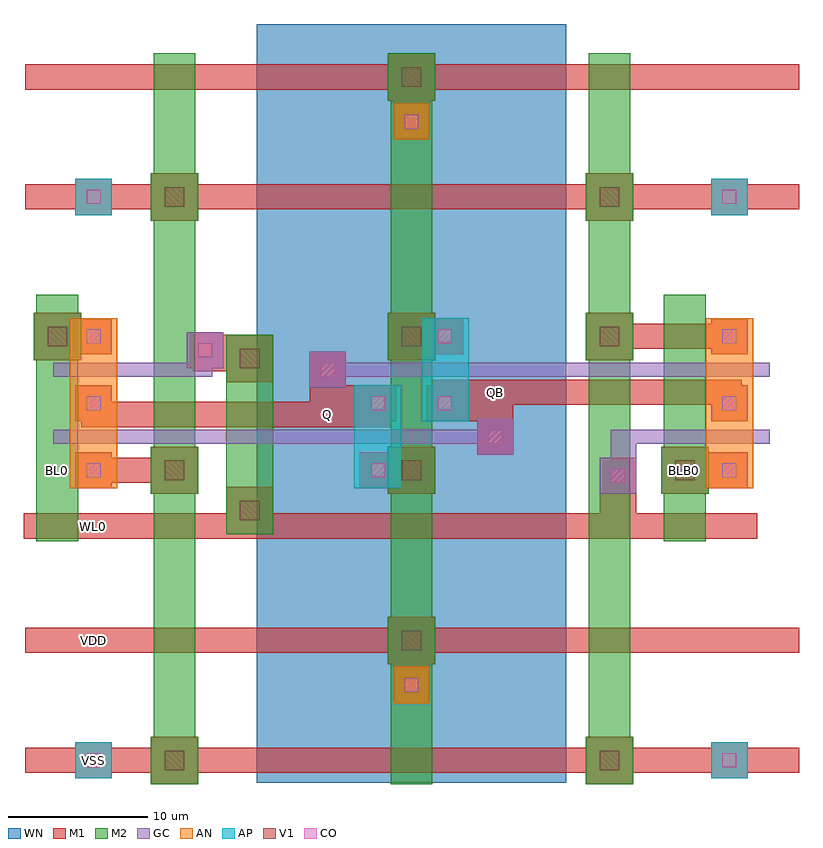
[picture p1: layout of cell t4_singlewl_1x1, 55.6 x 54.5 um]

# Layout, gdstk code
import gdstk
lib = gdstk.Library(unit=1e-6, precision=1e-07)
def R(c, l, rs):  # rectangles x0, y0, x1, y1
    for r in rs: c.add(gdstk.rectangle(r[:2], r[2:], *l))
def A(c, l, x, y, w, h, nx, ny, dx, dy):  # array of equal rectangles
    R(c, l, [(x+i*dx, y+j*dy, x+i*dx+w, y+j*dy+h) for i in range(nx) for j in range(ny)])
def P(c, l, *ps):  # polygons
    for p in ps: c.add(gdstk.Polygon(p, *l))
AP = (3, 1)
AN = (3, 2)
GC = (8, 1)
CO = (11, 0)
M1 = (13, 0)
V1 = (19, 0)
M2 = (20, 0)
WN = (140, 0)

t4_single_core = lib.new_cell('t4_single_core')
R(t4_single_core, AP, [(18.7,-1.3,22.1,6.1), (23.5,3.5,26.9,10.9)])
R(t4_single_core, AN, [(-1.7,-1.3,1.7,10.9), (43.9,-1.3,47.3,10.9)])
P(t4_single_core, GC, [(36.3,-1.7),(36.3,0.9),(37.1,0.9),(37.1,2.9),(48.5,2.9),(48.5,1.9),(38.9,1.9),(38.9,-1.7)],
  [(27.5,1.1),(27.5,1.9),(-2.9,1.9),(-2.9,2.9),(27.5,2.9),(27.5,3.7),(30.1,3.7),(30.1,1.1)],
  [(15.5,5.9),(15.5,8.5),(18.1,8.5),(18.1,7.7),(48.5,7.7),(48.5,6.7),(18.1,6.7),(18.1,5.9)],
  [(-2.9,6.7),(-2.9,7.7),(6.7,7.7),(6.7,9.9),(9.3,9.9),(9.3,7.3),(8.5,7.3),(8.5,6.7)])
A(t4_single_core, CO, -0.5, -0.5, 1, 1, 1, 3, 0, 4.8)
A(t4_single_core, CO, 45.1, -0.5, 1, 1, 1, 3, 0, 4.8)
R(t4_single_core, CO, [(37.1,-0.9,38.1,0.1), (19.9,-0.5,20.9,0.5), (28.3,1.9,29.3,2.9), (19.9,4.3,20.9,5.3), (24.7,4.3,25.7,5.3), (16.3,6.7,17.3,7.7), (7.5,8.1,8.5,9.1), (24.7,9.1,25.7,10.1)])
P(t4_single_core, M1, [(-5,-4.9),(-5,-3.1),(9.5,-3.1),(9.5,-1.2),(12.9,-1.2),(12.9,-3.1),(36.3,-3.1),(36.3,0.9),(38.9,0.9),(38.9,-3.1),(47.6,-3.1),(47.6,-4.9)],
  [(4.1,-1.7),(4.1,-0.9),(1.3,-0.9),(1.3,-1.3),(-1.3,-1.3),(-1.3,1.3),(1.3,1.3),(1.3,0.9),(4.1,0.9),(4.1,1.7),(7.5,1.7),(7.5,-1.7)],
  [(21.1,-1.7),(21.1,-1.3),(19.1,-1.3),(19.1,1.3),(21.1,1.3),(21.1,1.7),(24.5,1.7),(24.5,-1.7)],
  [(40.7,-1.7),(40.7,1.7),(44.1,1.7),(44.1,1.3),(46.9,1.3),(46.9,-1.3),(44.1,-1.3),(44.1,-1.7)],
  [(27.5,1.1),(27.5,3.5),(23.9,3.5),(23.9,6.1),(24.3,6.1),(24.3,6.5),(46.5,6.5),(46.5,6.1),(46.9,6.1),(46.9,3.5),(44.3,3.5),(44.3,4.7),(30.1,4.7),(30.1,1.1)],
  [(-0.9,3.1),(-0.9,3.5),(-1.3,3.5),(-1.3,6.1),(1.3,6.1),(1.3,4.9),(15.5,4.9),(15.5,8.5),(18.1,8.5),(18.1,6.1),(21.7,6.1),(21.7,3.5),(21.3,3.5),(21.3,3.1)],
  [(9.5,6.3),(9.5,7.1),(7.1,7.1),(7.1,7.3),(6.7,7.3),(6.7,9.9),(9.3,9.9),(9.3,9.7),(12.9,9.7),(12.9,6.3)],
  [(-4.3,7.9),(-4.3,11.3),(-0.9,11.3),(-0.9,10.9),(1.3,10.9),(1.3,8.3),(-0.9,8.3),(-0.9,7.9)],
  [(21.1,7.9),(21.1,11.3),(24.5,11.3),(24.5,10.9),(26.5,10.9),(26.5,8.3),(24.5,8.3),(24.5,7.9)],
  [(35.3,7.9),(35.3,11.3),(38.7,11.3),(38.7,10.5),(44.3,10.5),(44.3,10.9),(46.9,10.9),(46.9,8.3),(44.3,8.3),(44.3,8.7),(38.7,8.7),(38.7,7.9)])
R(t4_single_core, V1, [(10.5,-3.6,11.9,-2.2), (5.1,-0.7,6.5,0.7), (22.1,-0.7,23.5,0.7), (41.7,-0.7,43.1,0.7), (10.5,7.3,11.9,8.7), (-3.3,8.9,-1.9,10.3), (22.1,8.9,23.5,10.3), (36.3,8.9,37.7,10.3)])
R(t4_single_core, M2, [(9.5,-4.6,12.9,-1.2), (9.5,-4.6,12.9,9.7), (4.1,-1.7,7.5,1.7), (21.1,-1.7,24.5,1.7), (40.7,-1.7,44.1,1.7), (9.5,6.3,12.9,9.7), (-4.3,7.9,-0.9,11.3), (21.1,7.9,24.5,11.3), (35.3,7.9,38.7,11.3)])
R(t4_single_core, WN, [(11.7,-8.3,33.9,17.9)])

t4_singlewl_1x1 = lib.new_cell('t4_singlewl_1x1')
R(t4_singlewl_1x1, AP, [(-1.3,-22.1,1.3,-19.5), (44.3,-22.1,46.9,-19.5), (-1.3,18.3,1.3,20.9), (44.3,18.3,46.9,20.9)])
R(t4_singlewl_1x1, AN, [(21.5,-16.7,24.1,-14.1), (21.5,23.7,24.1,26.3)])
R(t4_singlewl_1x1, CO, [(-0.5,-21.3,0.5,-20.3), (45.1,-21.3,46.1,-20.3), (22.3,-15.9,23.3,-14.9), (-0.5,19.1,0.5,20.1), (45.1,19.1,46.1,20.1), (22.3,24.5,23.3,25.5)])
R(t4_singlewl_1x1, M1, [(4.1,-22.5,7.5,-19.1), (35.3,-22.5,38.7,-19.1), (-1.3,-22.1,1.3,-19.5), (44.3,-22.1,46.9,-19.5), (-4.9,-21.7,50.6,-19.9), (-0.9,-21.7,6.7,-19.9), (36.1,-21.7,46.5,-19.9), (21.5,-16.7,24.1,-14.1), (21.9,-16.3,23.7,-11.3), (21.5,-14.1,21.9,-13.9), (23.7,-14.1,24.1,-13.9), (21.1,-13.9,24.5,-10.5), (-4.9,-13.1,50.6,-11.3), (4.1,17.9,7.5,21.3), (35.3,17.9,38.7,21.3), (-1.3,18.3,1.3,20.9), (44.3,18.3,46.9,20.9), (-4.9,18.7,50.6,20.5), (-0.9,18.7,6.7,20.5), (36.1,18.7,46.5,20.5), (21.5,23.7,24.1,26.3), (21.9,24.1,23.7,29.1), (21.5,26.3,21.9,26.5), (23.7,26.3,24.1,26.5), (21.1,26.5,24.5,29.9), (-4.9,27.3,50.6,29.1)])
R(t4_singlewl_1x1, V1, [(5.1,-21.5,6.5,-20.1), (36.3,-21.5,37.7,-20.1), (22.1,-12.9,23.5,-11.5), (5.1,18.9,6.5,20.3), (36.3,18.9,37.7,20.3), (22.1,27.5,23.5,28.9)])
R(t4_singlewl_1x1, M2, [(4.1,-22.5,7.5,-19.1), (4.3,-22.5,7.3,29.9), (21.3,-22.5,24.3,29.9), (35.3,-22.5,38.7,-19.1), (35.5,-22.5,38.5,29.9), (21.1,-13.9,24.5,-10.5), (-4.1,-5.1,-1.1,12.6), (40.9,-5.1,43.9,12.6), (4.1,17.9,7.5,21.3), (35.3,17.9,38.7,21.3), (21.1,26.5,24.5,29.9)])
R(t4_singlewl_1x1, WN, [(11.7,-22.4,33.9,32)])
t4_singlewl_1x1.add(gdstk.Reference(t4_single_core, (0,0)))
t4_singlewl_1x1.add(gdstk.Label('WL0', (0,-4), layer=48, texttype=0))
t4_singlewl_1x1.add(gdstk.Label('VDD', (0,-12.2), layer=48, texttype=0))
t4_singlewl_1x1.add(gdstk.Label('VSS', (0,-20.8), layer=48, texttype=0))
t4_singlewl_1x1.add(gdstk.Label('Q', (16.8,4), layer=48, texttype=0))
t4_singlewl_1x1.add(gdstk.Label('QB', (28.8,5.6), layer=48, texttype=0))
t4_singlewl_1x1.add(gdstk.Label('BL0', (-2.6,0), layer=49, texttype=0))
t4_singlewl_1x1.add(gdstk.Label('BLB0', (42.4,0), layer=49, texttype=0))

lib.write_gds('t4_singlewl_1x1.gds')
